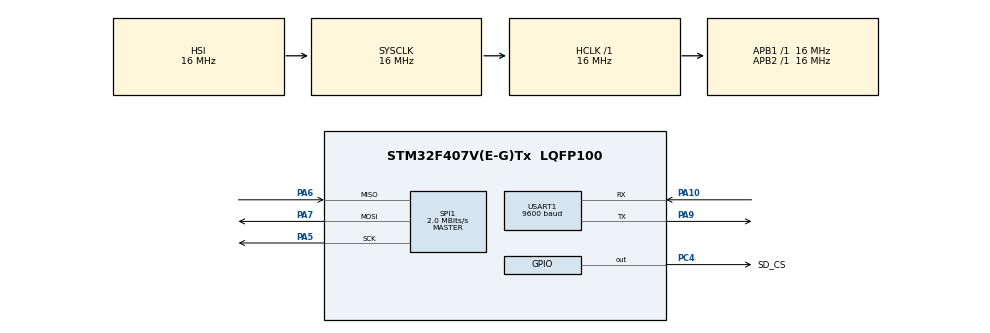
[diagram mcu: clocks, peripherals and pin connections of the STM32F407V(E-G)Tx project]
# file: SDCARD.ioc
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FATFS._MAX_SS=4096
FATFS._USE_LFN=1
Mcu.Family=STM32F4
Mcu.Name=STM32F407V(E-G)Tx
Mcu.Package=LQFP100
NVIC.PriorityGroup=NVIC_PRIORITYGROUP_4
NVIC.USART1_IRQn=true\:0\:0\:false\:false\:true\:true\:true\:true
PA10.Mode=Asynchronous
PA10.Signal=USART1_RX
PA13.Mode=Serial_Wire
PA13.Signal=SYS_JTMS-SWDIO
PA14.Mode=Serial_Wire
PA14.Signal=SYS_JTCK-SWCLK
PA5.Mode=Full_Duplex_Master
PA5.Signal=SPI1_SCK
PA6.Mode=Full_Duplex_Master
PA6.Signal=SPI1_MISO
PA7.Mode=Full_Duplex_Master
PA7.Signal=SPI1_MOSI
PA9.Mode=Asynchronous
PA9.Signal=USART1_TX
PC14-OSC32_IN.Mode=LSE-External-Oscillator
PC14-OSC32_IN.Signal=RCC_OSC32_IN
PC15-OSC32_OUT.Mode=LSE-External-Oscillator
PC15-OSC32_OUT.Signal=RCC_OSC32_OUT
PC4.GPIO_Label=SD_CS
PC4.Signal=GPIO_Output
PH0-OSC_IN.Mode=HSE-External-Oscillator
PH0-OSC_IN.Signal=RCC_OSC_IN
PH1-OSC_OUT.Mode=HSE-External-Oscillator
PH1-OSC_OUT.Signal=RCC_OSC_OUT
ProjectManager.HeapSize=0x200
ProjectManager.StackSize=0x400
ProjectManager.TargetToolchain=STM32CubeIDE
RCC.AHBFreq_Value=16000000
RCC.APB1Freq_Value=16000000
RCC.APB2Freq_Value=16000000
RCC.CortexFreq_Value=16000000
RCC.HSE_VALUE=25000000
RCC.HSI_VALUE=16000000
RCC.SYSCLKFreq_VALUE=16000000
RCC.VCOOutputFreq_Value=192000000
SPI1.BaudRatePrescaler=SPI_BAUDRATEPRESCALER_8
SPI1.CalculateBaudRate=2.0 MBits/s
SPI1.Direction=SPI_DIRECTION_2LINES
SPI1.Mode=SPI_MODE_MASTER
SPI1.VirtualType=VM_MASTER
USART1.BaudRate=9600
USART1.Mode=MODE_TX
USART1.OverSampling=UART_OVERSAMPLING_16
USART1.VirtualMode=VM_ASYNC
VP_FATFS_VS_Generic.Mode=User_defined
board=custom

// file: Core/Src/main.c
/* USER CODE BEGIN Header */
/**
  ******************************************************************************
  * @file           : main.c
  * @brief          : Main program body
  ******************************************************************************
  * @attention
  *
  * Copyright (c) 2024 STMicroelectronics.
  * All rights reserved.
  *
  * This software is licensed under terms that can be found in the LICENSE file
  * in the root directory of this software component.
  * If no LICENSE file comes with this software, it is provided AS-IS.
  *
  ******************************************************************************
  */
/* USER CODE END Header */
#include "main.h"
#include "fatfs.h"

/* USER CODE BEGIN Includes */
#include <string.h>
#include <stdio.h>
/* USER CODE END Includes */

SPI_HandleTypeDef hspi1;

UART_HandleTypeDef huart1;

void SystemClock_Config(void);
static void MX_GPIO_Init(void);
static void MX_SPI1_Init(void);
static void MX_USART1_UART_Init(void);

/* USER CODE BEGIN 0 */
FATFS fs;
FIL fil;
FRESULT fresult;
char buffer[1024];

UINT br, bw; //file read/write count

//capacity related variables
FATFS *pfs;
DWORD fre_clust;
uint32_t total, free_space;

// to send the data to the uart

void send_uart (char *string)
{

	char data[500]={};
	sprintf(data, string);
	strcat(data, "\r\n");

	HAL_UART_Transmit(&huart1, (uint8_t *) data, strlen(data),1000 );
}
// to find the size
void bufsize (char *buf)
{
	int i=0;
	while (*buf++ != '\0') i++;
	return i;
}
// clear bf
void bufclear (void)
{
	for (int i=0; i<1024; i++)
	{
		buffer[i] = '\0';
	}
}

/* USER CODE END 0 */

int main(void)
{

  /* MCU Configuration--------------------------------------------------------*/

  /* Reset of all peripherals, Initializes the Flash interface and the Systick. */
  HAL_Init();

  /* Configure the system clock */
  SystemClock_Config();

  /* Initialize all configured peripherals */
  MX_GPIO_Init();
  MX_SPI1_Init();
  MX_USART1_UART_Init();
  MX_FATFS_Init();
  /* USER CODE BEGIN 2 */
// Mount SD Card
  fresult = f_mount(&fs, "",0);
  if(fresult != FR_OK) send_uart ("error in mounting SD CARD...\n");
  else send_uart("Trung dep trai...\n");

  // check free space
  	  f_getfree("", &fre_clust, &pfs);

  	  total = (uint32_t)((pfs->n_fatent - 2) * pfs->csize * 0.5);
  	  sprintf(buffer, "SD CARD Total Size: \t%lu\n",total);
  	  send_uart(buffer);
  	  bufclear();
  	  free_space = (uint32_t)(fre_clust * pfs->csize * 0.5);
  	  sprintf(buffer, "SD CARD Free Space: \t%lu\n",free_space);
  	  send_uart(buffer);

  // using PUTS and GETS
  	  fresult = f_open(&fil, "file1.txt", FA_OPEN_ALWAYS | FA_READ | FA_WRITE);
  	  fresult = f_puts("Trung dep trai da gui ban 1 tin nhan\n\n", &fil);
  	  send_uart ("File1.txt created and the data is written \n");
  	  fresult = f_close(&fil);
  	  fresult = f_open(&fil, "file.txt",FA_READ);
  	  f_gets(buffer, sizeof(buffer), &fil);
  	  send_uart(buffer);
  	  f_close(&fil);
  	  bufclear();
  /* USER CODE END 2 */

  /* Infinite loop */
  while (1)
  {

  }
}

void SystemClock_Config(void)
{
  RCC_OscInitTypeDef RCC_OscInitStruct = {0};
  RCC_ClkInitTypeDef RCC_ClkInitStruct = {0};

  /** Configure the main internal regulator output voltage
  */
  __HAL_RCC_PWR_CLK_ENABLE();
  __HAL_PWR_VOLTAGESCALING_CONFIG(PWR_REGULATOR_VOLTAGE_SCALE1);

  /** Initializes the RCC Oscillators according to the specified parameters
  * in the RCC_OscInitTypeDef structure.
  */
  RCC_OscInitStruct.OscillatorType = RCC_OSCILLATORTYPE_HSI;
  RCC_OscInitStruct.HSIState = RCC_HSI_ON;
  RCC_OscInitStruct.HSICalibrationValue = RCC_HSICALIBRATION_DEFAULT;
  RCC_OscInitStruct.PLL.PLLState = RCC_PLL_NONE;
  if (HAL_RCC_OscConfig(&RCC_OscInitStruct) != HAL_OK)
  {
    Error_Handler();
  }

  /** Initializes the CPU, AHB and APB buses clocks
  */
  RCC_ClkInitStruct.ClockType = RCC_CLOCKTYPE_HCLK|RCC_CLOCKTYPE_SYSCLK
                              |RCC_CLOCKTYPE_PCLK1|RCC_CLOCKTYPE_PCLK2;
  RCC_ClkInitStruct.SYSCLKSource = RCC_SYSCLKSOURCE_HSI;
  RCC_ClkInitStruct.AHBCLKDivider = RCC_SYSCLK_DIV1;
  RCC_ClkInitStruct.APB1CLKDivider = RCC_HCLK_DIV1;
  RCC_ClkInitStruct.APB2CLKDivider = RCC_HCLK_DIV1;

  if (HAL_RCC_ClockConfig(&RCC_ClkInitStruct, FLASH_LATENCY_0) != HAL_OK)
  {
    Error_Handler();
  }
}

static void MX_SPI1_Init(void)
{

  /* SPI1 parameter configuration*/
  hspi1.Instance = SPI1;
  hspi1.Init.Mode = SPI_MODE_MASTER;
  hspi1.Init.Direction = SPI_DIRECTION_2LINES;
  hspi1.Init.DataSize = SPI_DATASIZE_8BIT;
  hspi1.Init.CLKPolarity = SPI_POLARITY_LOW;
  hspi1.Init.CLKPhase = SPI_PHASE_1EDGE;
  hspi1.Init.NSS = SPI_NSS_SOFT;
  hspi1.Init.BaudRatePrescaler = SPI_BAUDRATEPRESCALER_8;
  hspi1.Init.FirstBit = SPI_FIRSTBIT_MSB;
  hspi1.Init.TIMode = SPI_TIMODE_DISABLE;
  hspi1.Init.CRCCalculation = SPI_CRCCALCULATION_DISABLE;
  hspi1.Init.CRCPolynomial = 10;
  if (HAL_SPI_Init(&hspi1) != HAL_OK)
  {
    Error_Handler();
  }

}

static void MX_USART1_UART_Init(void)
{

  huart1.Instance = USART1;
  huart1.Init.BaudRate = 115200;
  huart1.Init.WordLength = UART_WORDLENGTH_8B;
  huart1.Init.StopBits = UART_STOPBITS_1;
  huart1.Init.Parity = UART_PARITY_NONE;
  huart1.Init.Mode = UART_MODE_TX;
  huart1.Init.HwFlowCtl = UART_HWCONTROL_NONE;
  huart1.Init.OverSampling = UART_OVERSAMPLING_8;
  if (HAL_UART_Init(&huart1) != HAL_OK)
  {
    Error_Handler();
  }

}

static void MX_GPIO_Init(void)
{
  GPIO_InitTypeDef GPIO_InitStruct = {0};

  /* GPIO Ports Clock Enable */
  __HAL_RCC_GPIOC_CLK_ENABLE();
  __HAL_RCC_GPIOH_CLK_ENABLE();
  __HAL_RCC_GPIOA_CLK_ENABLE();

  /*Configure GPIO pin Output Level */
  HAL_GPIO_WritePin(SD_CS_GPIO_Port, SD_CS_Pin, GPIO_PIN_RESET);

  /*Configure GPIO pin : SD_CS_Pin */
  GPIO_InitStruct.Pin = SD_CS_Pin;
  GPIO_InitStruct.Mode = GPIO_MODE_OUTPUT_PP;
  GPIO_InitStruct.Pull = GPIO_NOPULL;
  GPIO_InitStruct.Speed = GPIO_SPEED_FREQ_LOW;
  HAL_GPIO_Init(SD_CS_GPIO_Port, &GPIO_InitStruct);

}

void Error_Handler(void)
{
  __disable_irq();
  while (1)
  {
  }
}
